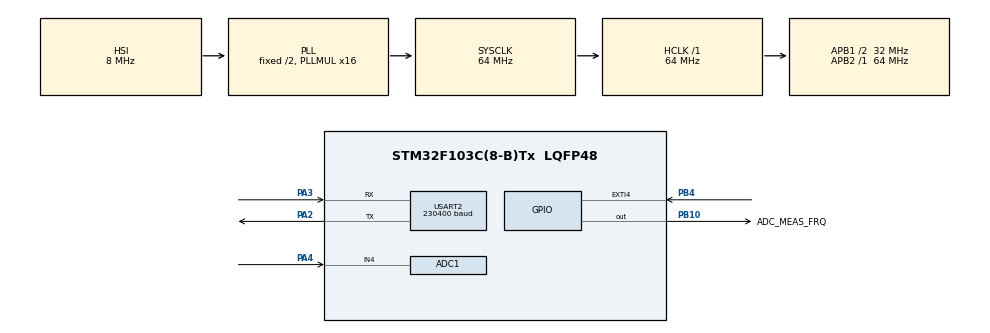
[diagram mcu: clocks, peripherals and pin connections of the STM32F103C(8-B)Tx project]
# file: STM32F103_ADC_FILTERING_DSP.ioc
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ADC1.Channel-5\#ChannelRegularConversion=ADC_CHANNEL_4
ADC1.ExternalTrigConv=ADC_EXTERNALTRIGCONV_T3_TRGO
ADC1.NbrOfConversionFlag=1
ADC1.Rank-5\#ChannelRegularConversion=1
ADC1.SamplingTime-5\#ChannelRegularConversion=ADC_SAMPLETIME_28CYCLES_5
ADC1.master=1
Dma.ADC1.0.Direction=DMA_PERIPH_TO_MEMORY
Dma.ADC1.0.Instance=DMA1_Channel1
Dma.ADC1.0.MemDataAlignment=DMA_MDATAALIGN_HALFWORD
Dma.ADC1.0.MemInc=DMA_MINC_ENABLE
Dma.ADC1.0.Mode=DMA_CIRCULAR
Dma.ADC1.0.PeriphDataAlignment=DMA_PDATAALIGN_HALFWORD
Dma.ADC1.0.PeriphInc=DMA_PINC_DISABLE
Dma.ADC1.0.Priority=DMA_PRIORITY_VERY_HIGH
Dma.Request0=ADC1
Mcu.Family=STM32F1
Mcu.Name=STM32F103C(8-B)Tx
Mcu.Package=LQFP48
NVIC.DMA1_Channel1_IRQn=true\:0\:0\:false\:false\:true\:false\:true\:true
NVIC.PriorityGroup=NVIC_PRIORITYGROUP_4
PA13.Mode=Serial_Wire
PA13.Signal=SYS_JTMS-SWDIO
PA14.Mode=Serial_Wire
PA14.Signal=SYS_JTCK-SWCLK
PA2.Mode=Asynchronous
PA2.Signal=USART2_TX
PA3.Mode=Asynchronous
PA3.Signal=USART2_RX
PA4.Signal=ADCx_IN4
PB10.GPIO_Label=ADC_MEAS_FRQ
PB10.GPIO_Speed=GPIO_SPEED_FREQ_HIGH
PB10.Signal=GPIO_Output
PB4.Signal=GPXTI4
ProjectManager.HeapSize=0x200
ProjectManager.StackSize=0x400
ProjectManager.TargetToolchain=STM32CubeIDE
RCC.ADCPresc=RCC_ADCPCLK2_DIV6
RCC.AHBFreq_Value=64000000
RCC.APB1CLKDivider=RCC_HCLK_DIV2
RCC.APB1Freq_Value=32000000
RCC.APB1TimFreq_Value=64000000
RCC.APB2Freq_Value=64000000
RCC.APB2TimFreq_Value=64000000
RCC.HCLKFreq_Value=64000000
RCC.PLLMUL=RCC_PLL_MUL16
RCC.SYSCLKFreq_VALUE=64000000
RCC.SYSCLKSource=RCC_SYSCLKSOURCE_PLLCLK
RCC.USBFreq_Value=64000000
SH.ADCx_IN4.0=ADC1_IN4,IN4
TIM3.Period=38
TIM3.Prescaler=7
TIM3.TIM_MasterOutputTrigger=TIM_TRGO_UPDATE
USART2.BaudRate=230400
USART2.VirtualMode=VM_ASYNC
VP_TIM3_VS_ClockSourceINT.Mode=Internal
board=custom

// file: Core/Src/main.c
/* USER CODE BEGIN Header */
/**
 ******************************************************************************
 * @file           : main.c
 * @brief          : Main program body
 ******************************************************************************
 * @attention
 *
 * Copyright (c) 2025 STMicroelectronics.
 * All rights reserved.
 *
 * This software is licensed under terms that can be found in the LICENSE file
 * in the root directory of this software component.
 * If no LICENSE file comes with this software, it is provided AS-IS.
 *
 ******************************************************************************
 */
/* USER CODE END Header */
#include "main.h"
#include "adc.h"
#include "dma.h"
#include "tim.h"
#include "usart.h"
#include "gpio.h"

/* USER CODE BEGIN Includes */
#include "arm_math.h"
#include "utility.h"
#include "stdbool.h"
/* USER CODE END Includes */

/* USER CODE BEGIN PTD */
#define ADC_BUF_LEN 1024
#define ADC_MAX     4095
#define VREF        3.3f
#define FIR_TAP_NUM 350

uint16_t adc_buf[ADC_BUF_LEN];
q15_t firCoeffsQ15[301] = { 0, 0, 0, 0, 0, 0, 0, 0, 0, 0, 0, 0, 0, 0, 0, 0, 0,
		0, 0, 0, 0, 0, 0, 0, 0, 0, 0, 0, 0, 0, 0, 0, 0, 0, 0, 0, 0, 1, 1, 1, 1,
		1, 1, 1, 1, 1, 1, 1, 2, 2, 2, 2, 2, 3, 3, 3, 3, 3, 4, 4, 4, 5, 5, 5, 6,
		6, 6, 7, 7, 8, 8, 9, 9, 9, 10, 11, 11, 12, 12, 13, 14, 14, 15, 16, 16,
		17, 18, 19, 19, 20, 21, 22, 23, 24, 25, 26, 27, 28, 29, 30, 31, 32, 34,
		35, 36, 37, 38, 40, 41, 42, 44, 45, 47, 48, 50, 51, 53, 54, 56, 58, 59,
		61, 63, 64, 66, 68, 69, 71, 73, 75, 76, 78, 80, 82, 84, 85, 87, 89, 91,
		93, 94, 96, 98, 100, 102, 104, 106, 107, 109, 111, 113, 115, 116, 118,
		120, 122, 123, 125, 127, 129, 130, 132, 134, 135, 137, 138, 140, 141,
		143, 144, 146, 147, 148, 150, 151, 152, 153, 155, 156, 157, 158, 159,
		160, 161, 162, 163, 164, 165, 166, 167, 167, 168, 169, 169, 170, 170,
		171, 171, 171, 172, 172, 172, 172, 172, 172, 172, 172, 172, 171, 171,
		171, 170, 170, 169, 169, 168, 167, 167, 166, 165, 164, 163, 162, 161,
		160, 159, 158, 157, 156, 155, 153, 152, 151, 150, 148, 147, 146, 144,
		143, 141, 140, 138, 137, 135, 134, 132, 130, 129, 127, 125, 123, 122,
		120, 118, 116, 115, 113, 111, 109, 107, 106, 104, 102, 100, 98, 96, 94,
		93, 91, 89, 87, 85, 84, 82, 80, 78, 76, 75, 73, 71, 69, 68, 66, 64, 63,
		61, 59, 58, 56, 54, 53, 51, 50, 48, 47, 45, 44, 42, 41, 40, 38, 37, 36,
		35, 34, 32, 31, 30, 29, 28, 27, 26, 25, 24, 23, 22, 21, 20, 19, 19, 18,
		17, 16, 16, 15, 14, 14, 13, 12, 12, 11, 11, 10, 9, 9, 9, 8, 8, 7, 7, 6,
		6, 6, 5, 5, 5, 4, 4, 4, 3, 3, 3, 3, 3, 2, 2, 2, 2, 2, 1, 1, 1, 1, 1, 1,
		1, 1, 1, 1, 1, 0 };

q15_t firStateQ15[ADC_BUF_LEN + FIR_TAP_NUM - 1];
q15_t inputQ15[ADC_BUF_LEN];
q15_t outputQ15[ADC_BUF_LEN];

arm_fir_instance_q15 firInstanceQ15;

/* USER CODE END PTD */

void SystemClock_Config(void);

int main(void) {

	/* MCU Configuration--------------------------------------------------------*/

	/* Reset of all peripherals, Initializes the Flash interface and the Systick. */
	HAL_Init();

	/* Configure the system clock */
	SystemClock_Config();

	/* Initialize all configured peripherals */
	MX_GPIO_Init();
	MX_DMA_Init();
	MX_ADC1_Init();
	MX_TIM3_Init();
	MX_USART2_UART_Init();
	/* USER CODE BEGIN 2 */

	HAL_TIM_Base_Start(&htim3);
	HAL_ADCEx_Calibration_Start(&hadc1);
	HAL_ADC_Start_DMA(&hadc1, (uint32_t*) adc_buf, ADC_BUF_LEN);
	arm_fir_init_q15(&firInstanceQ15, FIR_TAP_NUM, firCoeffsQ15, firStateQ15,ADC_BUF_LEN);

	/* USER CODE END 2 */

	/* Infinite loop */
	while (1) {

	}
}

void SystemClock_Config(void) {
	RCC_OscInitTypeDef RCC_OscInitStruct = { 0 };
	RCC_ClkInitTypeDef RCC_ClkInitStruct = { 0 };
	RCC_PeriphCLKInitTypeDef PeriphClkInit = { 0 };

	/** Initializes the RCC Oscillators according to the specified parameters
	 * in the RCC_OscInitTypeDef structure.
	 */
	RCC_OscInitStruct.OscillatorType = RCC_OSCILLATORTYPE_HSI;
	RCC_OscInitStruct.HSIState = RCC_HSI_ON;
	RCC_OscInitStruct.HSICalibrationValue = RCC_HSICALIBRATION_DEFAULT;
	RCC_OscInitStruct.PLL.PLLState = RCC_PLL_ON;
	RCC_OscInitStruct.PLL.PLLSource = RCC_PLLSOURCE_HSI_DIV2;
	RCC_OscInitStruct.PLL.PLLMUL = RCC_PLL_MUL16;
	if (HAL_RCC_OscConfig(&RCC_OscInitStruct) != HAL_OK) {
		Error_Handler();
	}

	/** Initializes the CPU, AHB and APB buses clocks
	 */
	RCC_ClkInitStruct.ClockType = RCC_CLOCKTYPE_HCLK | RCC_CLOCKTYPE_SYSCLK
			| RCC_CLOCKTYPE_PCLK1 | RCC_CLOCKTYPE_PCLK2;
	RCC_ClkInitStruct.SYSCLKSource = RCC_SYSCLKSOURCE_PLLCLK;
	RCC_ClkInitStruct.AHBCLKDivider = RCC_SYSCLK_DIV1;
	RCC_ClkInitStruct.APB1CLKDivider = RCC_HCLK_DIV2;
	RCC_ClkInitStruct.APB2CLKDivider = RCC_HCLK_DIV1;

	if (HAL_RCC_ClockConfig(&RCC_ClkInitStruct, FLASH_LATENCY_2) != HAL_OK) {
		Error_Handler();
	}
	PeriphClkInit.PeriphClockSelection = RCC_PERIPHCLK_ADC;
	PeriphClkInit.AdcClockSelection = RCC_ADCPCLK2_DIV6;
	if (HAL_RCCEx_PeriphCLKConfig(&PeriphClkInit) != HAL_OK) {
		Error_Handler();
	}
}

/* USER CODE BEGIN 4 */

void HAL_ADC_ConvCpltCallback(ADC_HandleTypeDef *hadc) {
	if (hadc->Instance == ADC1) {
		for (uint32_t i = 0; i < ADC_BUF_LEN; i++) {
			inputQ15[i] = (q15_t) ((adc_buf[i] << 3));  // 12б -> 15б
		}
		arm_fir_q15(&firInstanceQ15, inputQ15, outputQ15, ADC_BUF_LEN);

		for (uint32_t i = 0; i < ADC_BUF_LEN; i++) {
			int16_t val = outputQ15[i] >> 3;
			if (val < 0)
				val = 0;
			if (val > 4095)
				val = 4095;
			adc_buf[i] = (uint16_t) val;
		}
		write_adc_buffer_to_uart(ADC_BUF_LEN, adc_buf);

	}
}

/* USER CODE END 4 */

void Error_Handler(void) {
	__disable_irq();
	while (1) {
	}
}
